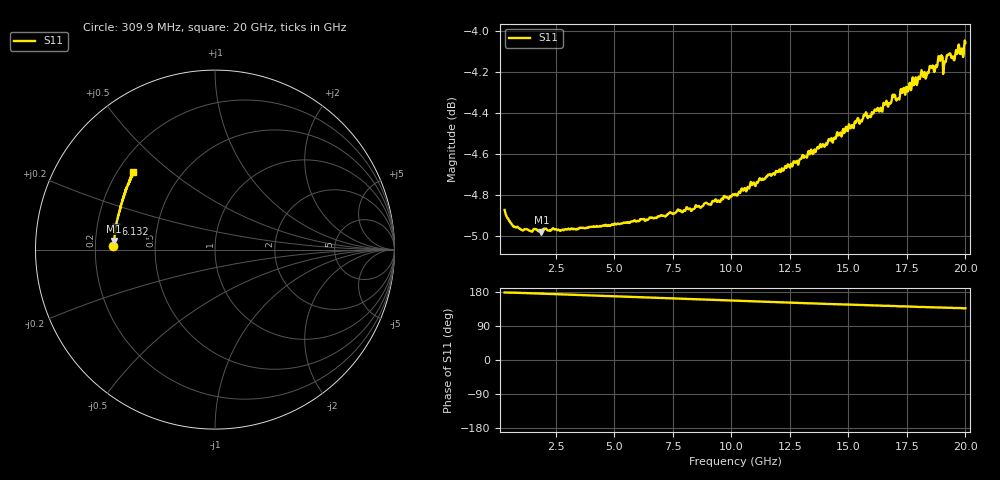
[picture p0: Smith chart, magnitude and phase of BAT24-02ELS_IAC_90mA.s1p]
! Infineon Technologies  Discrete & RF Semiconductors
! BAT24-02ELS
! IAC = 90 mA
! One-Port S-Parameters
# Hz  S  MA  R  50
!f  S11
!Hz  Mag  Ang
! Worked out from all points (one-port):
!   789 points, 309.9 MHz to 20 GHz, reference 50 ohm
!   lowest |S11| = -5.0 dB at 1.884 GHz (marker M1), VSWR 3.58, Z = 14 + j1.94 ohm
!   |S11| at or under -10 dB: nowhere
!   S11 on the Smith chart (normalised r, x): 309.9 MHz: 0.27, +0.02; 6.132 GHz: 0.28, +0.12; 20 GHz: 0.26, +0.37
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3.0985e8  0.5707 178.1
8.345875e8  0.5653 177.4
1.884062e9  0.5637 175.2
2.783612e9  0.5645 173.1
5.232388e9  0.5662 167.5
6.131938e9  0.5678 165.5
7.70615e9  0.5708 162.0
1.015492e10  0.5756 156.5
1.262869e10  0.5856 151.0
1.407796e10  0.5919 148.0
1.507746e10  0.5974 146.2
1.687656e10  0.6085 142.3
1.705148e10  0.6067 142.2
1.755122e10  0.6099 141.0
1.817591e10  0.6154 139.9
1.837581e10  0.6164 139.4
1.855072e10  0.618 139.2
1.875062e10  0.6188 138.8
1.895052e10  0.6214 138.5
1.912544e10  0.6202 138.1
1.932534e10  0.623 137.8
1.942529e10  0.6214 137.6
1.950025e10  0.6208 137.4
1.962519e10  0.6237 137.2
1.967516e10  0.624 136.9
1.982509e10  0.6241 136.7
1.987506e10  0.6233 136.9
2e10  0.6267 136.6
